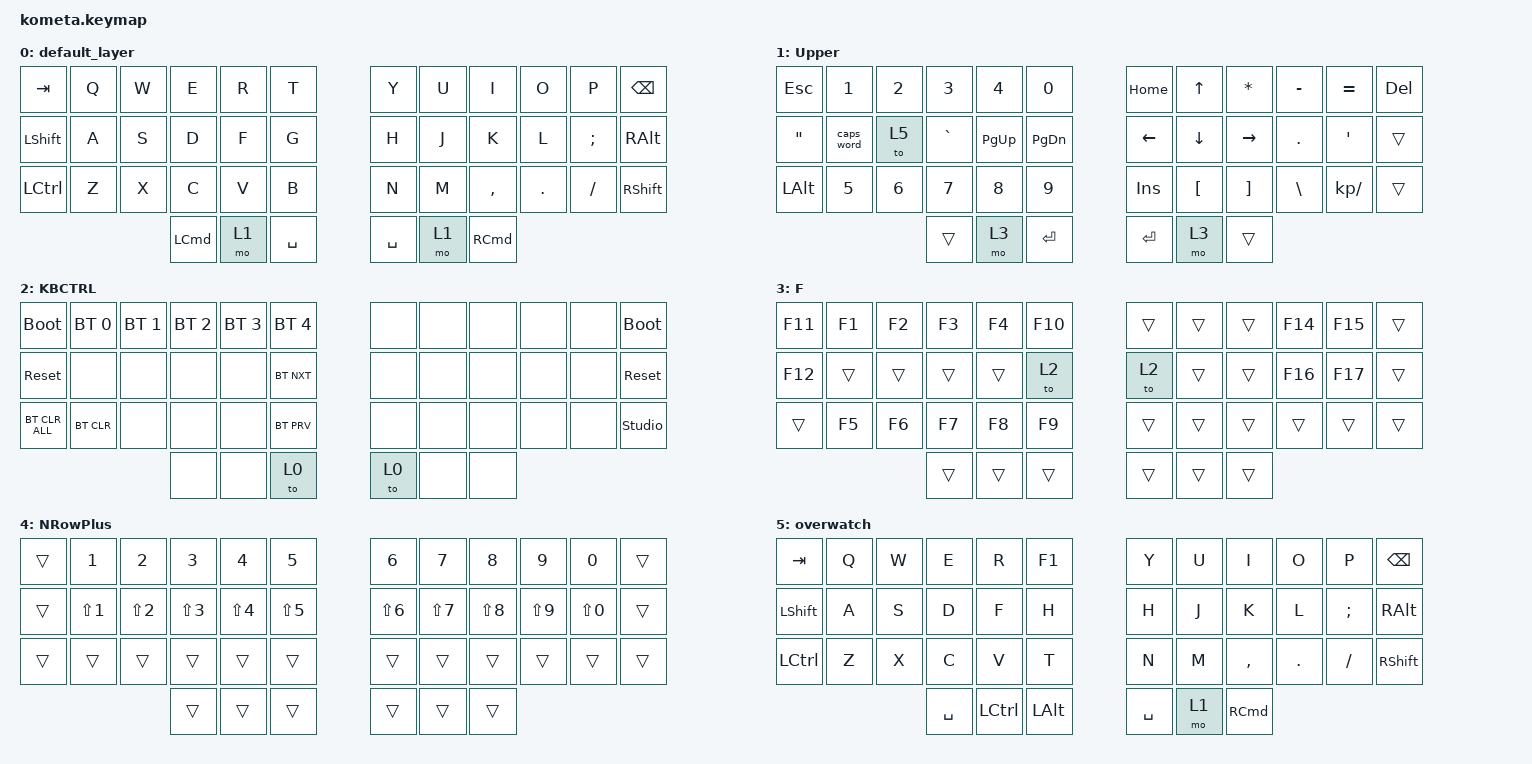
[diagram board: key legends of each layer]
#include <behaviors.dtsi>
#include <dt-bindings/zmk/bt.h>
#include <dt-bindings/zmk/keys.h>

#define DEF 0
#define LWR 1
#define RSE 2
#define ADJ 3

&lt {
};

&mt { flavor = "balanced"; };

/ {
};

/ {
    combos {
        compatible = "zmk,combos";

        ju-enter {
            bindings = <&kp ENTER>;
            key-positions = <7 19>;
        };

        fr-enter {
            bindings = <&kp ENTER>;
            key-positions = <16 4>;
        };

        tozero {
            bindings = <&to 0>;
            key-positions = <29 17>;
            layers = <5>;
        };

        esc {
            bindings = <&kp ESCAPE>;
            key-positions = <0 12>;
            layers = <5>;
        };
    };

    keymap {
        compatible = "zmk,keymap";

        default_layer {
            bindings = <
&kp TAB           &kp Q  &kp W  &kp E             &kp R  &kp T      &kp Y      &kp U  &kp I              &kp O    &kp P     &kp BACKSPACE
&kp LEFT_SHIFT    &kp A  &kp S  &kp D             &kp F  &kp G      &kp H      &kp J  &kp K              &kp L    &kp SEMI  &kp RIGHT_ALT
&kp LEFT_CONTROL  &kp Z  &kp X  &kp C             &kp V  &kp B      &kp N      &kp M  &kp COMMA          &kp DOT  &kp FSLH  &kp RIGHT_SHIFT
                                &kp LEFT_COMMAND  &mo 1  &kp SPACE  &kp SPACE  &mo 1  &kp RIGHT_COMMAND
            >;
        };

        upper {
            bindings = <
&kp ESCAPE         &kp NUMBER_1  &kp NUMBER_2  &kp NUMBER_3  &kp NUMBER_4  &kp NUMBER_0   &kp HOME        &kp UP_ARROW      &kp ASTERISK       &kp MINUS      &kp EQUAL         &kp DELETE
&kp DOUBLE_QUOTES  &caps_word    &to 5         &kp GRAVE     &kp PAGE_UP   &kp PAGE_DOWN  &kp LEFT_ARROW  &kp DOWN_ARROW    &kp RIGHT_ARROW    &kp DOT        &kp SINGLE_QUOTE  &trans
&kp LEFT_ALT       &kp NUMBER_5  &kp NUMBER_6  &kp NUMBER_7  &kp NUMBER_8  &kp NUMBER_9   &kp INSERT      &kp LEFT_BRACKET  &kp RIGHT_BRACKET  &kp BACKSLASH  &kp KP_SLASH      &trans
                                               &trans        &mo 3         &kp ENTER      &kp ENTER       &mo 3             &trans
            >;

            label = "Upper";
        };

        kb_control_layer {
            bindings = <
&bootloader     &bt BT_SEL 0  &bt BT_SEL 1  &bt BT_SEL 2  &bt BT_SEL 3  &bt BT_SEL 4  &none  &none  &none  &none  &none  &bootloader
&sys_reset      &none         &none         &none         &none         &bt BT_NXT    &none  &none  &none  &none  &none  &sys_reset
&bt BT_CLR_ALL  &bt BT_CLR    &none         &none         &none         &bt BT_PRV    &none  &none  &none  &none  &none  &studio_unlock
                                            &none         &none         &to 0         &to 0  &none  &none
            >;

            label = "KBCTRL";
        };

        flayer {
            bindings = <
&kp F11  &kp F1  &kp F2  &kp F3  &kp F4  &kp F10  &trans  &trans  &trans  &kp F14  &kp F15  &trans
&kp F12  &trans  &trans  &trans  &trans  &to 2    &to 2   &trans  &trans  &kp F16  &kp F17  &trans
&trans   &kp F5  &kp F6  &kp F7  &kp F8  &kp F9   &trans  &trans  &trans  &trans   &trans   &trans
                         &trans  &trans  &trans   &trans  &trans  &trans
            >;

            label = "F";
        };

        nrow_plus_layer {
            bindings = <
&trans  &kp NUMBER_1      &kp NUMBER_2      &kp NUMBER_3      &kp NUMBER_4      &kp NUMBER_5      &kp NUMBER_6      &kp NUMBER_7      &kp NUMBER_8      &kp NUMBER_9      &kp NUMBER_0      &trans
&trans  &kp LS(NUMBER_1)  &kp LS(NUMBER_2)  &kp LS(NUMBER_3)  &kp LS(NUMBER_4)  &kp LS(NUMBER_5)  &kp LS(NUMBER_6)  &kp LS(NUMBER_7)  &kp LS(NUMBER_8)  &kp LS(NUMBER_9)  &kp LS(NUMBER_0)  &trans
&trans  &trans            &trans            &trans            &trans            &trans            &trans            &trans            &trans            &trans            &trans            &trans
                                            &trans            &trans            &trans            &trans            &trans            &trans
            >;

            label = "NRowPlus";
        };

        overwatch {
            bindings = <
&kp TAB           &kp Q  &kp W  &kp E      &kp R             &kp F1        &kp Y      &kp U  &kp I              &kp O    &kp P     &kp BACKSPACE
&kp LEFT_SHIFT    &kp A  &kp S  &kp D      &kp F             &kp H         &kp H      &kp J  &kp K              &kp L    &kp SEMI  &kp RIGHT_ALT
&kp LEFT_CONTROL  &kp Z  &kp X  &kp C      &kp V             &kp T         &kp N      &kp M  &kp COMMA          &kp DOT  &kp FSLH  &kp RIGHT_SHIFT
                                &kp SPACE  &kp LEFT_CONTROL  &kp LEFT_ALT  &kp SPACE  &mo 1  &kp RIGHT_COMMAND
            >;
        };
    };
};
